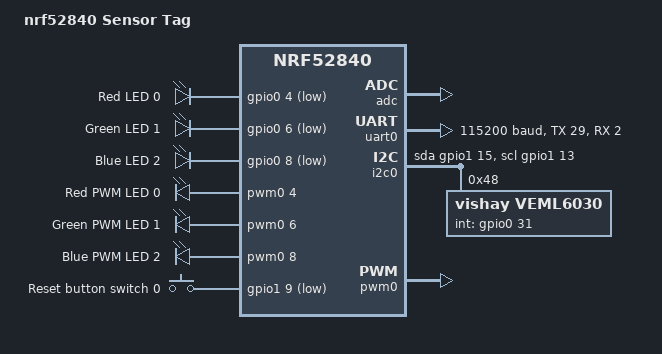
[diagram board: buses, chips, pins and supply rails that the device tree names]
/*
 * Copyright (c) 2021 Home Smart Mesh
 *
 * SPDX-License-Identifier: Apache-2.0
 */

/dts-v1/;
#include <nordic/nrf52840_qiaa.dtsi>

/ {
	model = "nrf52840 Sensor Tag";
	compatible = "homesmartmesh,nrf52840_sensortag";

	chosen {
		zephyr,console = &uart0;
		zephyr,shell-uart = &uart0;
		zephyr,uart-mcumgr = &uart0;
		zephyr,bt-mon-uart = &uart0;
		zephyr,bt-c2h-uart = &uart0;
		zephyr,sram = &sram0;
		zephyr,flash = &flash0;
		zephyr,code-partition = &slot0_partition;
	};

	leds {
		compatible = "gpio-leds";
		led0: led_0 {
			gpios = <&gpio0 4 GPIO_ACTIVE_LOW>;
			label = "Red LED 0";
		};
		led1: led_1 {
			gpios = <&gpio0 6 GPIO_ACTIVE_LOW>;
			label = "Green LED 1";
		};
		led2: led_2 {
			gpios = <&gpio0 8 GPIO_ACTIVE_LOW>;
			label = "Blue LED 2";
		};
	};

	pwmleds {
		compatible = "pwm-leds";
		pwm_led0: pwm_led_0 {
			pwms = <&pwm0 4>;
			label = "Red PWM LED 0";
		};
		pwm_led1: pwm_led_1 {
			pwms = <&pwm0 6>;
			label = "Green PWM LED 1";
		};
		pwm_led2: pwm_led_2 {
			pwms = <&pwm0 8>;
			label = "Blue PWM LED 2";
		};
	};

	buttons {
		compatible = "gpio-keys";
		button0: button_0 {
			gpios = <&gpio1 9 (GPIO_PULL_UP | GPIO_ACTIVE_LOW)>;
			label = "Reset button switch 0";
		};
	};


	/* These aliases are provided for compatibility with samples */
	aliases {
		led0 = &led0;
		led1 = &led1;
		led2 = &led2;
		pwm-led0 = &pwm_led0;
		pwm-led1 = &pwm_led1;
		pwm-led2 = &pwm_led2;
		sw0 = &button0;
	};
};

&adc {
	status = "okay";
};

&gpiote {
	status = "okay";
};

&gpio0 {
	status = "okay";
};

&gpio1 {
	status = "okay";
};

&uart0 {
	compatible = "nordic,nrf-uarte";
	status = "okay";
	current-speed = <115200>;
	tx-pin = <29>;
	rx-pin = <2>;
};

&i2c0 {
	compatible = "nordic,nrf-twi";
	status = "okay";
	sda-gpios = <&gpio1 15 0>;
	scl-gpios = <&gpio1 13 0>;

	veml6030@48 {
		compatible = "vishay,veml6030";
		reg = <0x48>;
		int-gpios = <&gpio0 31 0>;
		label = "VEML6030";
	};
};

&pwm0 {
	status = "okay";
	ch0-pin = <4>;
	ch0-inverted;
	ch1-pin = <6>;
	ch1-inverted;
	ch2-pin = <8>;
	ch2-inverted;
};

&flash0 {

	partitions {
		compatible = "fixed-partitions";
		#address-cells = <1>;
		#size-cells = <1>;

		boot_partition: partition@0 {
			label = "mcuboot";
			reg = <0x000000000 0x0000C000>;
		};
		slot0_partition: partition@c000 {
			label = "image-0";
			reg = <0x0000C000 0x00067000>;
		};
		slot1_partition: partition@73000 {
			label = "image-1";
			reg = <0x00073000 0x00067000>;
		};
		scratch_partition: partition@da000 {
			label = "image-scratch";
			reg = <0x000da000 0x0001e000>;
		};

		/*
		 * The flash starting at 0x000f8000 and ending at
		 * 0x000fffff is reserved for use by the application.
		 */

		/*
		 * Storage partition will be used by FCB/LittleFS/NVS
		 * if enabled.
		 */
		storage_partition: partition@f8000 {
			label = "storage";
			reg = <0x000f8000 0x00008000>;
		};
	};
};
